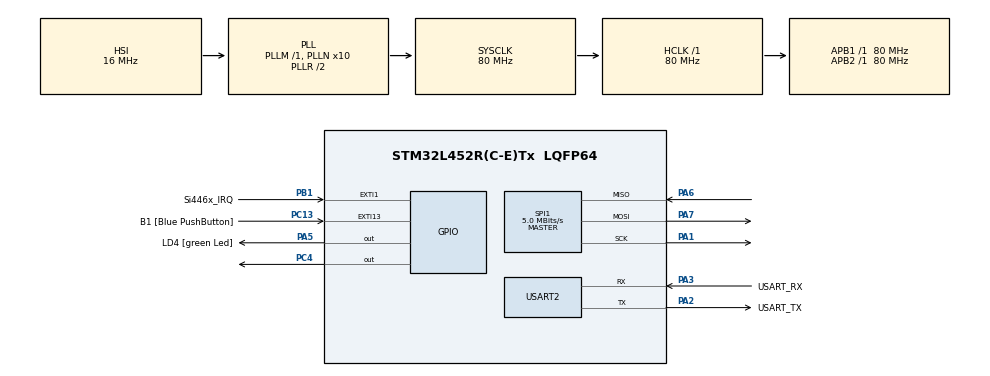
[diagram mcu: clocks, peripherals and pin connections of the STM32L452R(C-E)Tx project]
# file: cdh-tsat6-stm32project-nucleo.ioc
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Mcu.Family=STM32L4
Mcu.Name=STM32L452R(C-E)Tx
Mcu.Package=LQFP64
NVIC.EXTI1_IRQn=true\:0\:0\:false\:false\:true\:true\:true\:true
NVIC.PriorityGroup=NVIC_PRIORITYGROUP_4
PA1.Mode=Full_Duplex_Master
PA1.Signal=SPI1_SCK
PA13\ (JTMS/SWDIO).GPIO_Label=TMS
PA13\ (JTMS/SWDIO).Mode=Serial_Wire
PA13\ (JTMS/SWDIO).Signal=SYS_JTMS-SWDIO
PA14\ (JTCK/SWCLK).GPIO_Label=TCK
PA14\ (JTCK/SWCLK).Mode=Serial_Wire
PA14\ (JTCK/SWCLK).Signal=SYS_JTCK-SWCLK
PA2.GPIO_Label=USART_TX
PA2.GPIO_Mode=GPIO_MODE_AF_PP
PA2.GPIO_PuPd=GPIO_NOPULL
PA2.GPIO_Speed=GPIO_SPEED_FREQ_VERY_HIGH
PA2.Mode=Asynchronous
PA2.Signal=USART2_TX
PA3.GPIO_Label=USART_RX
PA3.GPIO_Mode=GPIO_MODE_AF_PP
PA3.GPIO_PuPd=GPIO_NOPULL
PA3.GPIO_Speed=GPIO_SPEED_FREQ_VERY_HIGH
PA3.Mode=Asynchronous
PA3.Signal=USART2_RX
PA5.GPIO_Label=LD4 [green Led]
PA5.GPIO_ModeDefaultOutputPP=GPIO_MODE_OUTPUT_PP
PA5.GPIO_PuPd=GPIO_NOPULL
PA5.GPIO_Speed=GPIO_SPEED_FREQ_LOW
PA5.Signal=GPIO_Output
PA6.Mode=Full_Duplex_Master
PA6.Signal=SPI1_MISO
PA7.Mode=Full_Duplex_Master
PA7.Signal=SPI1_MOSI
PB1.GPIO_Label=Si446x_IRQ
PB1.GPIO_ModeDefaultEXTI=GPIO_MODE_IT_FALLING
PB1.Signal=GPXTI1
PB3\ (JTDO/TRACESWO).GPIO_Label=SWO
PB3\ (JTDO/TRACESWO).Signal=SYS_JTDO-SWO
PC13.GPIO_Label=B1 [Blue PushButton]
PC13.GPIO_ModeDefaultEXTI=GPIO_MODE_IT_FALLING
PC13.GPIO_PuPd=GPIO_NOPULL
PC13.Signal=GPXTI13
PC14-OSC32_IN\ (PC14).Mode=LSE-External-Oscillator
PC14-OSC32_IN\ (PC14).Signal=RCC_OSC32_IN
PC15-OSC32_OUT\ (PC15).Mode=LSE-External-Oscillator
PC15-OSC32_OUT\ (PC15).Signal=RCC_OSC32_OUT
PC4.Signal=GPIO_Output
PH0-OSC_IN\ (PH0).Signal=RCC_OSC_IN
PH1-OSC_OUT\ (PH1).Signal=RCC_OSC_OUT
ProjectManager.HeapSize=0x200
ProjectManager.StackSize=0x400
ProjectManager.TargetToolchain=STM32CubeIDE
RCC.ADCFreq_Value=64000000
RCC.AHBFreq_Value=80000000
RCC.APB1Freq_Value=80000000
RCC.APB1TimFreq_Value=80000000
RCC.APB2Freq_Value=80000000
RCC.APB2TimFreq_Value=80000000
RCC.CortexFreq_Value=80000000
RCC.HCLKFreq_Value=80000000
RCC.HSE_VALUE=8000000
RCC.HSI48_VALUE=48000000
RCC.HSI_VALUE=16000000
RCC.MSI_VALUE=4000000
RCC.PLLN=10
RCC.PLLSourceVirtual=RCC_PLLSOURCE_HSI
RCC.PREFETCH_ENABLE=1
RCC.SYSCLKFreq_VALUE=80000000
RCC.SYSCLKSource=RCC_SYSCLKSOURCE_PLLCLK
RCC.USBFreq_Value=64000000
RCC.VCOOutputFreq_Value=160000000
SPI1.BaudRatePrescaler=SPI_BAUDRATEPRESCALER_16
SPI1.CalculateBaudRate=5.0 MBits/s
SPI1.DataSize=SPI_DATASIZE_8BIT
SPI1.Direction=SPI_DIRECTION_2LINES
SPI1.Mode=SPI_MODE_MASTER
SPI1.NSSPMode=SPI_NSS_PULSE_DISABLE
SPI1.VirtualType=VM_MASTER
USART2.VirtualMode-Asynchronous=VM_ASYNC
board=NUCLEO-L452RE

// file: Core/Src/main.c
/* USER CODE BEGIN Header */
/**
  ******************************************************************************
  * @file           : main.c
  * @brief          : Main program body
  ******************************************************************************
  * @attention
  *
  * Copyright (c) 2022 STMicroelectronics.
  * All rights reserved.
  *
  * This software is licensed under terms that can be found in the LICENSE file
  * in the root directory of this software component.
  * If no LICENSE file comes with this software, it is provided AS-IS.
  *
  ******************************************************************************
  */
/* USER CODE END Header */
#include "main.h"

#include <stdio.h>

/* USER CODE BEGIN Includes */
#include "Si446x/Si446x.h"

/* USER CODE END Includes */

 SPI_HandleTypeDef hspi1;

UART_HandleTypeDef huart2;

void SystemClock_Config(void);
static void MX_GPIO_Init(void);
static void MX_USART2_UART_Init(void);
static void MX_SPI1_Init(void);

/* USER CODE BEGIN 0 */
/*
 * Ping client
 *
 * Time how long it takes to send some data and get a reply
 * Should be around 5-6ms with default settings
 */

#define CHANNEL 2
#define MAX_PACKET_SIZE 10
#define TIMEOUT 1000

#define TEMP_NUMBER 1337

#define PACKET_NONE		0
#define PACKET_OK		1
#define PACKET_INVALID	2

typedef struct{
	uint8_t ready;
	int16_t rssi;
	uint8_t length;
	uint8_t buffer[MAX_PACKET_SIZE];
} pingInfo_t;

static volatile pingInfo_t pingInfo;

void SI446X_CB_RXCOMPLETE(uint8_t length, int16_t rssi)
{
	if(length > MAX_PACKET_SIZE)
		length = MAX_PACKET_SIZE;

	pingInfo.ready = PACKET_OK;
	pingInfo.rssi = rssi;
	pingInfo.length = length;

	Si446x_read((uint8_t*)pingInfo.buffer, length);

	// Radio will now be in idle mode
}

void SI446X_CB_RXINVALID(int16_t rssi)
{
	pingInfo.ready = PACKET_INVALID;
	pingInfo.rssi = rssi;
}

/* USER CODE END 0 */

int main(void)
{

  /* MCU Configuration--------------------------------------------------------*/

  /* Reset of all peripherals, Initializes the Flash interface and the Systick. */
  HAL_Init();

  /* Configure the system clock */
  SystemClock_Config();

  /* Initialize all configured peripherals */
  MX_GPIO_Init();
  MX_USART2_UART_Init();
  MX_SPI1_Init();
  /* USER CODE BEGIN 2 */

  /* Test code to check if comms on the si446x board is working. -NJR */
  si446x_info_t info = {0};
  uint8_t data_to_tx[] = {'V', 'E', '4', 'N', 'J', 'R', ' ', 'T', 'E', 'S', 'T', '\n'};

  Si446x_init();
  Si446x_setTxPower(SI446X_MAX_TX_POWER);

  Si446x_getInfo(&info);

  /* USER CODE END 2 */

  /* Infinite loop */
  /* USER CODE BEGIN WHILE */
  while (1) {
	static uint32_t pings;
	static uint32_t invalids;

	// Put into receive mode
	Si446x_RX(CHANNEL);

	HAL_UART_Transmit(&huart2, "waiting...", sizeof("waiting..."), 1000000);

	// Wait for data
	while(pingInfo.ready == PACKET_NONE);

		if(pingInfo.ready != PACKET_OK)
		{
			invalids++;
			pingInfo.ready = PACKET_NONE;
			HAL_UART_Transmit(&huart2, "Invalid packet! Breakpoint for dbm!:\n", sizeof("Invalid packet! Breakpoint for dbm!:\n"), 1000000);
			Si446x_RX(CHANNEL);
		}
		else
		{
			pings++;
			pingInfo.ready = PACKET_NONE;

			HAL_UART_Transmit(&huart2, "got packet, sending reply\n", sizeof("got packet, sending reply\n"), 1000000);

			// Send back the data, once the transmission has completed go into receive mode
			Si446x_TX((uint8_t*)pingInfo.buffer, pingInfo.length, CHANNEL, SI446X_STATE_RX);

			HAL_UART_Transmit(&huart2, "reply sent\n", sizeof("reply sent\n"), 1000000);

			// Toggle LED
			static uint8_t ledState;
			HAL_GPIO_WritePin(LD4_GPIO_Port, LD4_Pin, ledState ? SET : RESET);
			ledState = !ledState;

			HAL_UART_Transmit(&huart2, "BREAK HERE FOR SUCCESSFUL PACKET!\n", sizeof("BREAK HERE FOR SUCCESSFUL PACKET!\n"), 1000000);

			HAL_UART_Transmit(&huart2, "BREAK HERE FOR DATA!\n", sizeof("BREAK HERE FOR DATA!\n"), 1000000);
		}

		HAL_UART_Transmit(&huart2, "BREAK HERE FOR STATS!\n", sizeof("BREAK HERE FOR SUCCESSFUL PACKET!\n"), 1000000);

	}

	/* USER CODE END WHILE */

}

void SystemClock_Config(void)
{
  RCC_OscInitTypeDef RCC_OscInitStruct = {0};
  RCC_ClkInitTypeDef RCC_ClkInitStruct = {0};

  /** Configure the main internal regulator output voltage
  */
  if (HAL_PWREx_ControlVoltageScaling(PWR_REGULATOR_VOLTAGE_SCALE1) != HAL_OK)
  {
    Error_Handler();
  }

  /** Initializes the RCC Oscillators according to the specified parameters
  * in the RCC_OscInitTypeDef structure.
  */
  RCC_OscInitStruct.OscillatorType = RCC_OSCILLATORTYPE_HSI;
  RCC_OscInitStruct.HSIState = RCC_HSI_ON;
  RCC_OscInitStruct.HSICalibrationValue = RCC_HSICALIBRATION_DEFAULT;
  RCC_OscInitStruct.PLL.PLLState = RCC_PLL_ON;
  RCC_OscInitStruct.PLL.PLLSource = RCC_PLLSOURCE_HSI;
  RCC_OscInitStruct.PLL.PLLM = 1;
  RCC_OscInitStruct.PLL.PLLN = 10;
  RCC_OscInitStruct.PLL.PLLP = RCC_PLLP_DIV7;
  RCC_OscInitStruct.PLL.PLLQ = RCC_PLLQ_DIV2;
  RCC_OscInitStruct.PLL.PLLR = RCC_PLLR_DIV2;
  if (HAL_RCC_OscConfig(&RCC_OscInitStruct) != HAL_OK)
  {
    Error_Handler();
  }

  /** Initializes the CPU, AHB and APB buses clocks
  */
  RCC_ClkInitStruct.ClockType = RCC_CLOCKTYPE_HCLK|RCC_CLOCKTYPE_SYSCLK
                              |RCC_CLOCKTYPE_PCLK1|RCC_CLOCKTYPE_PCLK2;
  RCC_ClkInitStruct.SYSCLKSource = RCC_SYSCLKSOURCE_PLLCLK;
  RCC_ClkInitStruct.AHBCLKDivider = RCC_SYSCLK_DIV1;
  RCC_ClkInitStruct.APB1CLKDivider = RCC_HCLK_DIV1;
  RCC_ClkInitStruct.APB2CLKDivider = RCC_HCLK_DIV1;

  if (HAL_RCC_ClockConfig(&RCC_ClkInitStruct, FLASH_LATENCY_4) != HAL_OK)
  {
    Error_Handler();
  }
}

static void MX_SPI1_Init(void)
{

  /* SPI1 parameter configuration*/
  hspi1.Instance = SPI1;
  hspi1.Init.Mode = SPI_MODE_MASTER;
  hspi1.Init.Direction = SPI_DIRECTION_2LINES;
  hspi1.Init.DataSize = SPI_DATASIZE_8BIT;
  hspi1.Init.CLKPolarity = SPI_POLARITY_LOW;
  hspi1.Init.CLKPhase = SPI_PHASE_1EDGE;
  hspi1.Init.NSS = SPI_NSS_SOFT;
  hspi1.Init.BaudRatePrescaler = SPI_BAUDRATEPRESCALER_16;
  hspi1.Init.FirstBit = SPI_FIRSTBIT_MSB;
  hspi1.Init.TIMode = SPI_TIMODE_DISABLE;
  hspi1.Init.CRCCalculation = SPI_CRCCALCULATION_DISABLE;
  hspi1.Init.CRCPolynomial = 7;
  hspi1.Init.CRCLength = SPI_CRC_LENGTH_DATASIZE;
  hspi1.Init.NSSPMode = SPI_NSS_PULSE_DISABLE;
  if (HAL_SPI_Init(&hspi1) != HAL_OK)
  {
    Error_Handler();
  }

}

static void MX_USART2_UART_Init(void)
{

  huart2.Instance = USART2;
  huart2.Init.BaudRate = 115200;
  huart2.Init.WordLength = UART_WORDLENGTH_8B;
  huart2.Init.StopBits = UART_STOPBITS_1;
  huart2.Init.Parity = UART_PARITY_NONE;
  huart2.Init.Mode = UART_MODE_TX_RX;
  huart2.Init.HwFlowCtl = UART_HWCONTROL_NONE;
  huart2.Init.OverSampling = UART_OVERSAMPLING_16;
  huart2.Init.OneBitSampling = UART_ONE_BIT_SAMPLE_DISABLE;
  huart2.AdvancedInit.AdvFeatureInit = UART_ADVFEATURE_NO_INIT;
  if (HAL_UART_Init(&huart2) != HAL_OK)
  {
    Error_Handler();
  }

}

static void MX_GPIO_Init(void)
{
  GPIO_InitTypeDef GPIO_InitStruct = {0};

  /* GPIO Ports Clock Enable */
  __HAL_RCC_GPIOC_CLK_ENABLE();
  __HAL_RCC_GPIOH_CLK_ENABLE();
  __HAL_RCC_GPIOA_CLK_ENABLE();
  __HAL_RCC_GPIOB_CLK_ENABLE();

  /*Configure GPIO pin Output Level */
  HAL_GPIO_WritePin(LD4_GPIO_Port, LD4_Pin, GPIO_PIN_RESET);

  /*Configure GPIO pin Output Level */
  HAL_GPIO_WritePin(GPIOC, GPIO_PIN_4, GPIO_PIN_RESET);

  /*Configure GPIO pin : B1_Pin */
  GPIO_InitStruct.Pin = B1_Pin;
  GPIO_InitStruct.Mode = GPIO_MODE_IT_FALLING;
  GPIO_InitStruct.Pull = GPIO_NOPULL;
  HAL_GPIO_Init(B1_GPIO_Port, &GPIO_InitStruct);

  /*Configure GPIO pin : LD4_Pin */
  GPIO_InitStruct.Pin = LD4_Pin;
  GPIO_InitStruct.Mode = GPIO_MODE_OUTPUT_PP;
  GPIO_InitStruct.Pull = GPIO_NOPULL;
  GPIO_InitStruct.Speed = GPIO_SPEED_FREQ_LOW;
  HAL_GPIO_Init(LD4_GPIO_Port, &GPIO_InitStruct);

  /*Configure GPIO pin : PC4 */
  GPIO_InitStruct.Pin = GPIO_PIN_4;
  GPIO_InitStruct.Mode = GPIO_MODE_OUTPUT_PP;
  GPIO_InitStruct.Pull = GPIO_NOPULL;
  GPIO_InitStruct.Speed = GPIO_SPEED_FREQ_LOW;
  HAL_GPIO_Init(GPIOC, &GPIO_InitStruct);

  /*Configure GPIO pin : Si446x_IRQ_Pin */
  GPIO_InitStruct.Pin = Si446x_IRQ_Pin;
  GPIO_InitStruct.Mode = GPIO_MODE_IT_FALLING;
  GPIO_InitStruct.Pull = GPIO_NOPULL;
  HAL_GPIO_Init(Si446x_IRQ_GPIO_Port, &GPIO_InitStruct);

  /* EXTI interrupt init*/
  HAL_NVIC_SetPriority(EXTI1_IRQn, 0, 0);
  HAL_NVIC_EnableIRQ(EXTI1_IRQn);

}

void Error_Handler(void)
{
  __disable_irq();
  while (1)
  {
  }
}
